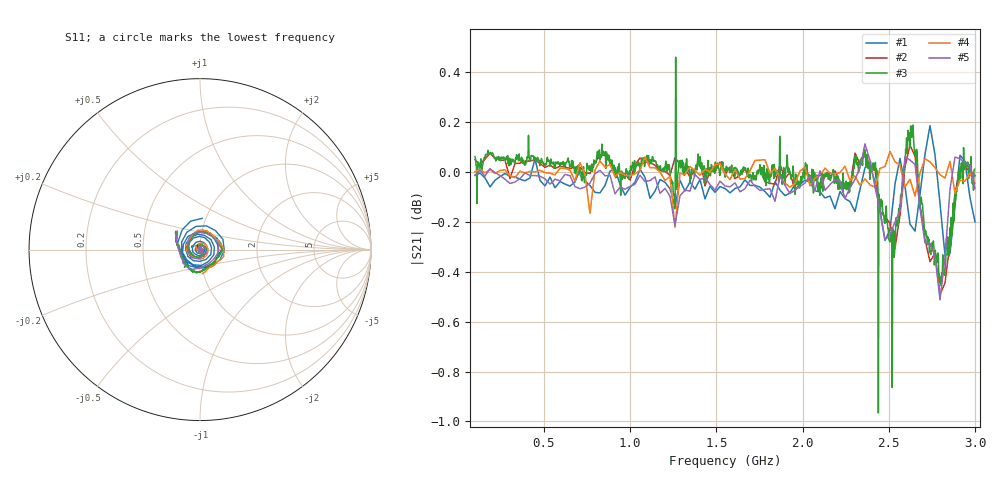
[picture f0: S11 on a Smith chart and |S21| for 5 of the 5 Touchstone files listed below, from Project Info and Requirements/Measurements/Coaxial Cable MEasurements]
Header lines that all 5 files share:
# HZ S RI R 50
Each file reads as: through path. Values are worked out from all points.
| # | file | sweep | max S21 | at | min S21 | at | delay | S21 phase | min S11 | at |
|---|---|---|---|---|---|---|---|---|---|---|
| 1 | 2cables 2 adapters no por extension.s2p | 100 MHz to 3 GHz | 0.18 dB | 2.739 GHz | -0.3 dB | 2.826 GHz | 283 ps | -158 deg at 1.55 GHz | -58.1 dB | 216 MHz |
| 2 | coaxial cable 18ps port exntesion for thru adapter 101 points.s2p | 100 MHz to 3 GHz | 0.11 dB | 2.623 GHz | -0.5 dB | 2.797 GHz | 264 ps | -148 deg at 1.55 GHz | -61.6 dB | 100 MHz |
| 3 | coaxial cable 18ps port exntesion for thru adapter.s2p | 100 MHz to 2.997 GHz | 0.46 dB | 1.264 GHz | -1.0 dB | 2.44 GHz | 264 ps | -148 deg at 1.549 GHz | -71.1 dB | 105.7 MHz |
| 4 | coaxial cable no port exntesion for thru adapter.s2p | 100 MHz to 3 GHz | 0.08 dB | 2.507 GHz | -0.2 dB | 1.26 GHz | 172 ps | -97 deg at 1.55 GHz | -64.1 dB | 100 MHz |
| 5 | coaxialcablethruadapterwith18psintoport2.s2p | 100 MHz to 3 GHz | 0.11 dB | 2.362 GHz | -0.5 dB | 2.797 GHz | 266 ps | -149 deg at 1.55 GHz | -53.5 dB | 158 MHz |
